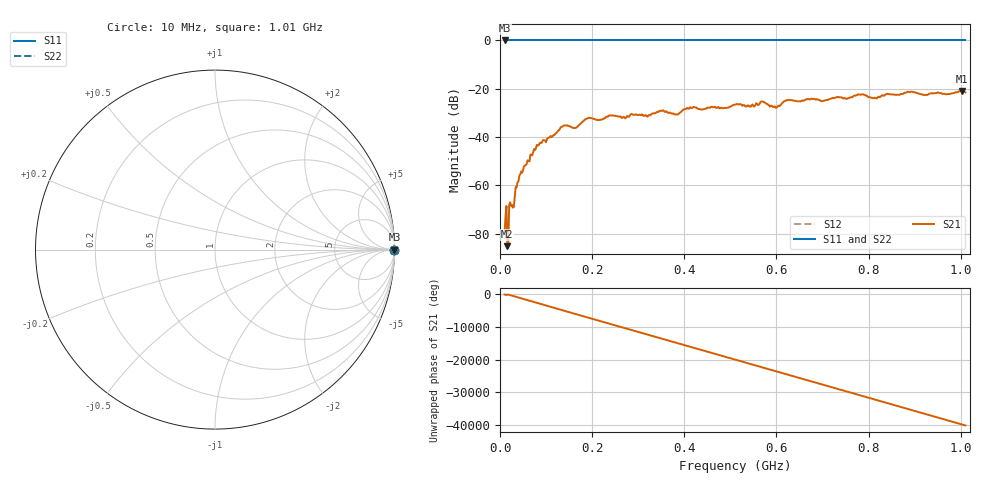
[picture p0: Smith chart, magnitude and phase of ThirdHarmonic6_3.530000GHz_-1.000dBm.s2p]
! 8/17/2025 11:36:06 AM
! C:\ANRITSUVNA\TEMP\TEMP.S2P
! CHANNEL.1
! TR.MEASUREMENT
! RAW.DATA
! RF.CORRECTION.OFF
! AVERAGING.OFF
! IF.BANDWIDTH: 5KHZ
! SWEEPTYPE:  FREQ.SWEEP(Linear)
! Reference Plane Port Info
! PORT:  PORT1  PORT2
! DISTANCE:  0  m  0  m
! TIME:  0  s  0  s
! PHASE.OFFSET:  0  deg.  0  deg.
! LOSS:  0  dB  0  dB
! REF.LOSS:  0  dB  0  dB
! REF.FREQ:  0  Hz  0  Hz
! Power Info
! POWER:  -20  dBm  -20  dBm
! EFF.POWER:  -20  dBm  -20  dBm
! SOURCE.ATTEN:  0  dB  0  dB
! TEST.ATTEN:  0  dB  0  dB
# GHZ S RI R 50.0
! FREQ.GHZ  S11RE  S11IM  S21RE  S21IM  S12RE  S12IM  S22RE  S22IM
!; PortSelection: Port_12
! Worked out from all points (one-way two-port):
!   501 points, 10 MHz to 1.01 GHz, reference 50 ohm
!   highest |S21| = -20.86 dB at 1.002 GHz (marker M1); lowest = -85.2 dB at 16 MHz (marker M2)
!   lowest |S11| = 0.0 dB at 10 MHz (marker M3)
!   |S11| at or under -10 dB: nowhere
!   |S22| runs from 0.0 to 0.0 dB; largest |S21 - S12| = 1.1
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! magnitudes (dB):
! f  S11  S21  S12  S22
! 10 MHz  0.0  -79.4  0.0  0.0
! 14 MHz  0.0  -68.5  0.0  0.0
! 16 MHz  0.0  -85.2  0.0  0.0
! 20 MHz  0.0  -68.1  0.0  0.0
! 24 MHz  0.0  -68.4  0.0  0.0
! 28 MHz  0.0  -69.2  0.0  0.0
! 42 MHz  0.0  -55.9  0.0  0.0
! 78 MHz  0.0  -44.6  0.0  0.0
! 136 MHz  0.0  -35.6  0.0  0.0
! 162 MHz  0.0  -36.3  0.0  0.0
! 178 MHz  0.0  -33.9  0.0  0.0
! 344 MHz  0.0  -29.6  0.0  0.0
! 382 MHz  0.0  -30.6  0.0  0.0
! 416 MHz  0.0  -28.0  0.0  0.0
! 510 MHz  0.0  -26.5  0.0  0.0
! 570 MHz  0.0  -25.3  0.0  0.0
! 598 MHz  0.0  -27.9  0.0  0.0
! 624 MHz  0.0  -24.6  0.0  0.0
! 678 MHz  0.0  -24.2  0.0  0.0
! 844 MHz  0.0  -22.2  0.0  0.0
! 1.002 GHz  0.0  -20.9  0.0  0.0
! 1.01 GHz  0.0  -21.5  0.0  0.0
